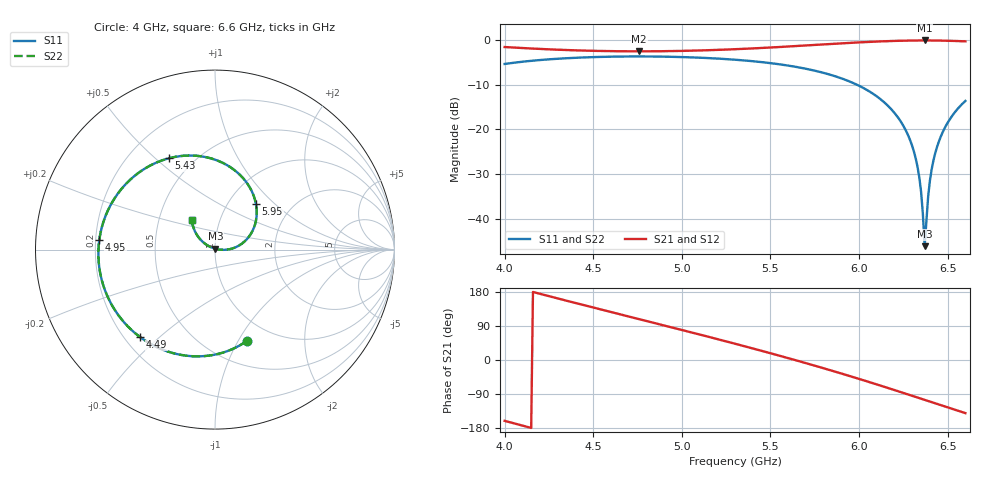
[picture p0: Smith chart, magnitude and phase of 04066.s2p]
!freq-unit  param-type  data-format  keyword  impedance-ohms
# GHZ  S  RI  R  50
!Freq  ReS11  ImS11  ReS21  ImS21  ReS12  ImS12  ReS22  ImS22
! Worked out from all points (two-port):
!   261 points, 4 GHz to 6.6 GHz, reference 50 ohm
!   highest |S21| = -0.12 dB at 6.37 GHz (marker M1); lowest = -2.6 dB at 4.76 GHz (marker M2)
!   |S21| within 3 dB of the highest: start of sweep to end of sweep
!   lowest |S11| = -46.1 dB at 6.37 GHz (marker M3), VSWR 1.01, Z = 50.2 + j0.436 ohm
!   |S11| at or under -10 dB: 5.987 GHz to end of sweep
!   |S22| runs from -46.1 to -3.7 dB; largest |S21 - S12| = 0
!   S11 on the Smith chart (normalised r, x): 4 GHz: 0.76, -1.09; 4.49 GHz: 0.26, -0.44; 4.95 GHz: 0.21, +0.04; 5.43 GHz: 0.37, +0.55; 5.95 GHz: 1.34, +0.77; 6.6 GHz: 0.73, +0.25
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4  0.1781 -0.508  -0.7849 -0.2781  -0.7849 -0.2781  0.1781 -0.508
4.22  -0.0835 -0.5946  -0.7818 0.108  -0.7818 0.108  -0.0835 -0.5946
4.44  -0.3598 -0.5249  -0.6277 0.4291  -0.6277 0.4291  -0.3598 -0.5249
4.49  -0.4154 -0.4889  -0.5766 0.4889  -0.5766 0.4889  -0.4154 -0.4889
4.76  -0.6222 -0.1998  -0.2278 0.7096  -0.2278 0.7096  -0.6222 -0.1998
4.87  -0.6489 -0.0547  -0.0625 0.7444  -0.0625 0.7444  -0.6489 -0.0547
4.95  -0.6448 0.0525  0.0615 0.748  0.0615 0.748  -0.6448 0.0525
5.3  -0.4107 0.4385  0.5756 0.5366  0.5756 0.5366  -0.4107 0.4385
5.43  -0.2586 0.5084  0.7221 0.3643  0.7221 0.3643  -0.2586 0.5084
5.74  0.1049 0.4457  0.8516 -0.206  0.8516 -0.206  0.1049 0.4457
5.95  0.2284 0.253  0.6813 -0.6285  0.6813 -0.6285  0.2284 0.253
6.17  0.1705 0.0507  0.2539 -0.9367  0.2539 -0.9367  0.1705 0.0507
6.26  0.1005 0.00742  0.0275 -0.9808  0.0275 -0.9808  0.1005 0.00742
6.32  0.0471 -0.00145  -0.129 -0.9766  -0.129 -0.9766  0.0471 -0.00145
6.35  0.0201 0.000582  -0.2067 -0.9639  -0.2067 -0.9639  0.0201 0.000582
6.36  0.0112 0.00222  -0.2324 -0.9582  -0.2324 -0.9582  0.0112 0.00222
6.37  0.00239 0.00434  -0.2579 -0.9517  -0.2579 -0.9517  0.00239 0.00434
6.39  -0.0149 0.01  -0.3083 -0.9364  -0.3083 -0.9364  -0.0149 0.01
6.4  -0.0233 0.0135  -0.3331 -0.9276  -0.3331 -0.9276  -0.0233 0.0135
6.43  -0.0474 0.0268  -0.4058 -0.8969  -0.4058 -0.8969  -0.0474 0.0268
6.5  -0.0943 0.0722  -0.562 -0.8013  -0.562 -0.8013  -0.0943 0.0722
6.6  -0.1294 0.163  -0.7404 -0.6168  -0.7404 -0.6168  -0.1294 0.163
